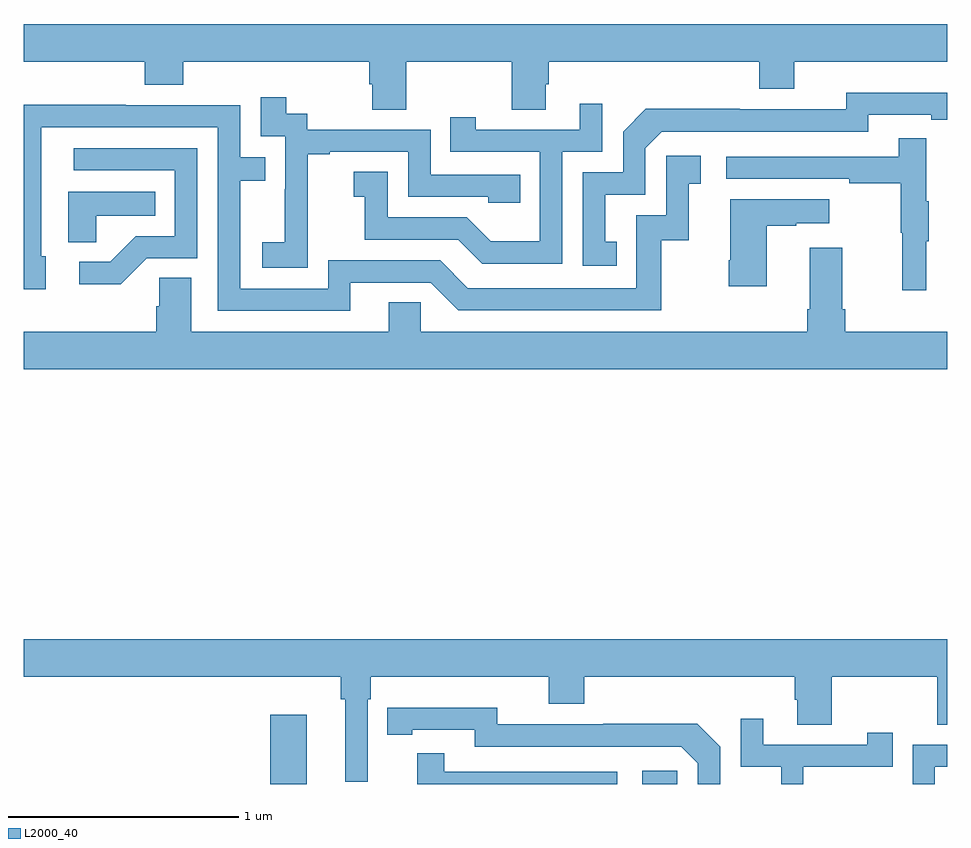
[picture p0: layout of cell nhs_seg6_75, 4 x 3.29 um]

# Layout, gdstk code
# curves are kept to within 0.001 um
import gdstk
lib = gdstk.Library(unit=1e-6, precision=1e-09)
def R(c, l, rs):  # rectangles x0, y0, x1, y1
    for r in rs: c.add(gdstk.rectangle(r[:2], r[2:], *l))
def P(c, l, *ps):  # polygons
    for p in ps: c.add(gdstk.Polygon(p, *l))
L2000_40 = (2000, 40)

nhs_seg6_75 = lib.new_cell('nhs_seg6_75')
R(nhs_seg6_75, L2000_40, [(114.068,985.5,114.226,985.801), (115.68,985.5,115.83,985.558)])
P(nhs_seg6_75, L2000_40, [(114.657,988.628),(115.114,988.628),(115.114,988.42),(115.261,988.42),(115.261,988.53),(115.274,988.53),(115.274,988.628),(116.186,988.628),(116.186,988.511),(116.338,988.511),(116.338,988.628),(117,988.628),(117,988.792),(113,988.792),(113,988.628),(113.525,988.628),(113.525,988.529),(113.69,988.529),(113.69,988.628),(114.497,988.628),(114.497,988.53),(114.509,988.53),(114.509,988.42),(114.657,988.42)],
  [(115.568,987.849),(115.519,987.849),(115.519,988.053),(115.692,988.053),(115.692,988.254),(115.764,988.326),(116.658,988.326),(116.658,988.398),(116.93,988.398),(116.93,988.378),(117,988.378),(117,988.494),(116.562,988.495),(116.562,988.422),(116.102,988.422),(116.102,988.424),(115.694,988.424),(115.596,988.326),(115.596,988.149),(115.422,988.149),(115.422,987.744),(115.568,987.744)],
  [(114.231,987.943),(114.23,987.943),(114.23,988.227),(114.325,988.227),(114.325,988.239),(114.666,988.239),(114.666,988.044),(115.011,988.044),(115.011,988.017),(115.151,988.017),(115.151,988.14),(114.762,988.14),(114.762,988.335),(114.228,988.335),(114.228,988.404),(114.136,988.404),(114.136,988.474),(114.027,988.474),(114.027,988.305),(114.132,988.305),(114.132,988.076),(114.131,988.076),(114.131,987.847),(114.033,987.847),(114.033,987.737),(114.231,987.737)],
  [(115.332,988.239),(115.506,988.239),(115.506,988.447),(115.409,988.447),(115.409,988.335),(114.958,988.335),(114.958,988.387),(114.847,988.387),(114.847,988.239),(115.236,988.239),(115.236,987.85),(115.022,987.85),(114.918,987.954),(114.576,987.954),(114.576,988.153),(114.429,988.153),(114.429,988.043),(114.478,988.043),(114.478,987.858),(114.881,987.858),(114.986,987.753),(115.332,987.753)],
  [(114.415,987.672),(114.762,987.672),(114.882,987.552),(115.762,987.552),(115.762,987.855),(115.88,987.855),(115.88,988.101),(115.933,988.101),(115.933,988.222),(115.782,988.222),(115.782,987.963),(115.653,987.963),(115.653,987.648),(114.924,987.648),(114.804,987.768),(114.318,987.768),(114.318,987.645),(113.937,987.645),(113.937,988.114),(114.047,988.114),(114.047,988.215),(113.937,988.215),(113.937,988.44),(113.441,988.44),(113.441,988.442),(113,988.442),(113,987.642),(113.095,987.642),(113.095,987.786),(113.076,987.786),(113.076,988.344),(113.841,988.344),(113.841,987.549),(114.415,987.549)],
  [(116.909,987.851),(116.92,987.851),(116.92,988.025),(116.909,988.025),(116.909,988.297),(116.791,988.297),(116.791,988.218),(116.043,988.218),(116.043,988.122),(116.575,988.122),(116.575,988.102),(116.799,988.102),(116.799,987.888),(116.806,987.888),(116.806,987.639),(116.909,987.639)],
  [(113.532,987.777),(113.751,987.777),(113.751,988.254),(113.217,988.254),(113.217,988.158),(113.655,988.158),(113.655,987.873),(113.486,987.873),(113.375,987.762),(113.241,987.762),(113.241,987.665),(113.419,987.665)],
  [(113.313,987.962),(113.57,987.962),(113.57,988.066),(113.192,988.066),(113.192,987.847),(113.313,987.847)],
  [(116.218,987.919),(116.345,987.919),(116.345,987.929),(116.488,987.929),(116.488,988.033),(116.06,988.033),(116.06,987.769),(116.053,987.769),(116.053,987.657),(116.218,987.657)],
  [(117,987.46),(116.558,987.46),(116.558,987.556),(116.545,987.556),(116.545,987.823),(116.405,987.823),(116.405,987.556),(116.393,987.556),(116.393,987.46),(114.72,987.46),(114.72,987.587),(114.581,987.587),(114.581,987.46),(113.725,987.46),(113.725,987.692),(113.586,987.692),(113.586,987.569),(113.573,987.569),(113.573,987.46),(113,987.46),(113,987.296),(117,987.296)],
  [(114.489,985.868),(114.503,985.868),(114.503,985.964),(115.274,985.964),(115.274,985.847),(115.427,985.847),(115.427,985.964),(116.339,985.964),(116.339,985.866),(116.351,985.866),(116.351,985.756),(116.499,985.756),(116.499,985.964),(116.956,985.964),(116.956,985.756),(117,985.756),(117,986.128),(113,986.128),(113,985.964),(114.373,985.964),(114.373,985.868),(114.392,985.868),(114.392,985.509),(114.489,985.509)],
  [(116.016,985.662),(115.918,985.76),(115.51,985.76),(115.51,985.758),(115.05,985.758),(115.05,985.831),(114.574,985.83),(114.574,985.714),(114.682,985.714),(114.682,985.734),(114.954,985.734),(114.954,985.662),(115.848,985.662),(115.92,985.59),(115.92,985.5),(116.016,985.5)],
  [(116.376,985.575),(116.765,985.575),(116.765,985.723),(116.654,985.723),(116.654,985.671),(116.203,985.671),(116.203,985.783),(116.106,985.783),(116.106,985.575),(116.28,985.575),(116.28,985.5),(116.376,985.5)],
  [(116.946,985.575),(117,985.575),(117,985.671),(116.85,985.671),(116.85,985.5),(116.946,985.5)],
  [(115.57,985.554),(114.821,985.554),(114.821,985.633),(114.704,985.633),(114.704,985.5),(115.57,985.5)])

lib.write_gds('nhs_seg6_75.gds')
